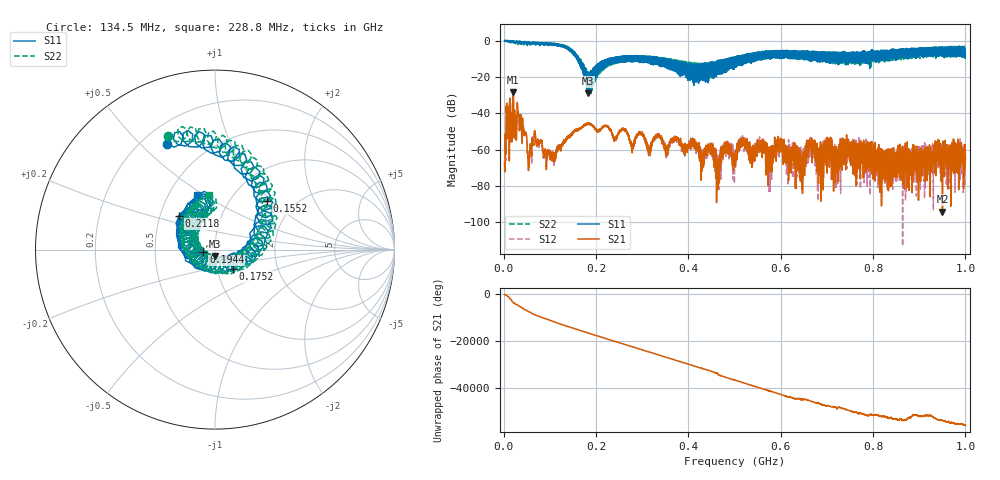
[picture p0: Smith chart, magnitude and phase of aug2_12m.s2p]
!Keysight Technologies N9923A: A.12.45
!Date: Saturday, 02 August 2025 18:58:42
!Timezone: (UTC+08:00) Kuala Lumpur, Singapore
!Model: N9923A
!Serial: MY61181427
!GPS Latitude:
!GPS Longitude:
!GPS TimeStamp: 0001-01-01 00:00:00Z
!GPS Seconds Since Last Read: 0
!CHECKSUM:0545159904
!Correction: S11(ON U)S21(ON U)S12(ON U)S22(ON U)
!S2P File: Measurements:S11,S21,S12,S22:
# Hz S DB R 50
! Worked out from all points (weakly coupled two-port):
!   4001 points, 2 MHz to 1 GHz, reference 50 ohm
!   highest |S21| = -28.45 dB at 20.46 MHz (marker M1); lowest = -94.1 dB at 950.3 MHz (marker M2)
!   lowest |S11| = -29.0 dB at 182.9 MHz (marker M3), VSWR 1.07, Z = 49.9 - j3.56 ohm
!   |S11| at or under -10 dB: 162.6 MHz to 226.8 MHz (64.25 MHz wide, 33 % of centre); 339.4468 MHz to 340.8732 MHz (1.426 MHz wide, 0.419 % of centre); 351.1 MHz to 484.7 MHz (133.7 MHz wide, 32 % of centre) (the widest 3 of 244)
!   |S22| runs from -29.6 to 0.1 dB; largest |S21 - S12| = 0.0026
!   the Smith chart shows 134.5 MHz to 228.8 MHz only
!   S11 on the Smith chart (normalised r, x): 134.5 MHz: 0.30, +0.60; 155.2 MHz: 1.47, +0.93; 175.2 MHz: 1.19, -0.26; 194.4 MHz: 0.88, -0.02; 211.8 MHz: 0.63, +0.26; 228.8 MHz: 0.69, +0.46
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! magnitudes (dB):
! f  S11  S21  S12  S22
! 2 MHz  -0.1  -67.2  -66.5  -0.1
! 9.984 MHz  0.1  -39.7  -39.7  0.0
! 20.46 MHz  -0.8  -28.5  -28.5  -0.6
! 55.89 MHz  -1.5  -63.8  -65.4  -2.2
! 134.5 MHz  -3.8  -55.1  -54.1  -3.3
! 155.2 MHz  -8.0  -48.9  -48.9  -8.0
! 168.4 MHz  -14.3  -47.8  -48.4  -14.2
! 175.2 MHz  -16.6  -46.6  -46.4  -18.0
! 182.9 MHz  -29.0  -45.6  -45.4  -21.9
! 194.4 MHz  -23.6  -47.2  -47.2  -22.0
! 211.8 MHz  -11.2  -48.4  -48.1  -12.8
! 228.8 MHz  -9.9  -48.9  -48.6  -10.2
! 334.8 MHz  -11.7  -52.1  -51.7  -9.6
! 462.3 MHz  -17.8  -65.2  -63.5  -13.8
! 480.8 MHz  -15.8  -58.6  -55.8  -13.0
! 501 MHz  -12.4  -62.0  -64.9  -12.8
! 596.8 MHz  -6.4  -56.3  -59.6  -9.2
! 647.5 MHz  -5.8  -68.2  -71.9  -10.0
! 667.4 MHz  -7.0  -56.1  -57.1  -10.0
! 833.8 MHz  -6.9  -62.0  -67.3  -7.7
! 950.3 MHz  -3.8  -94.1  -71.2  -8.4
! 1 GHz  -7.3  -64.1  -66.5  -3.1
